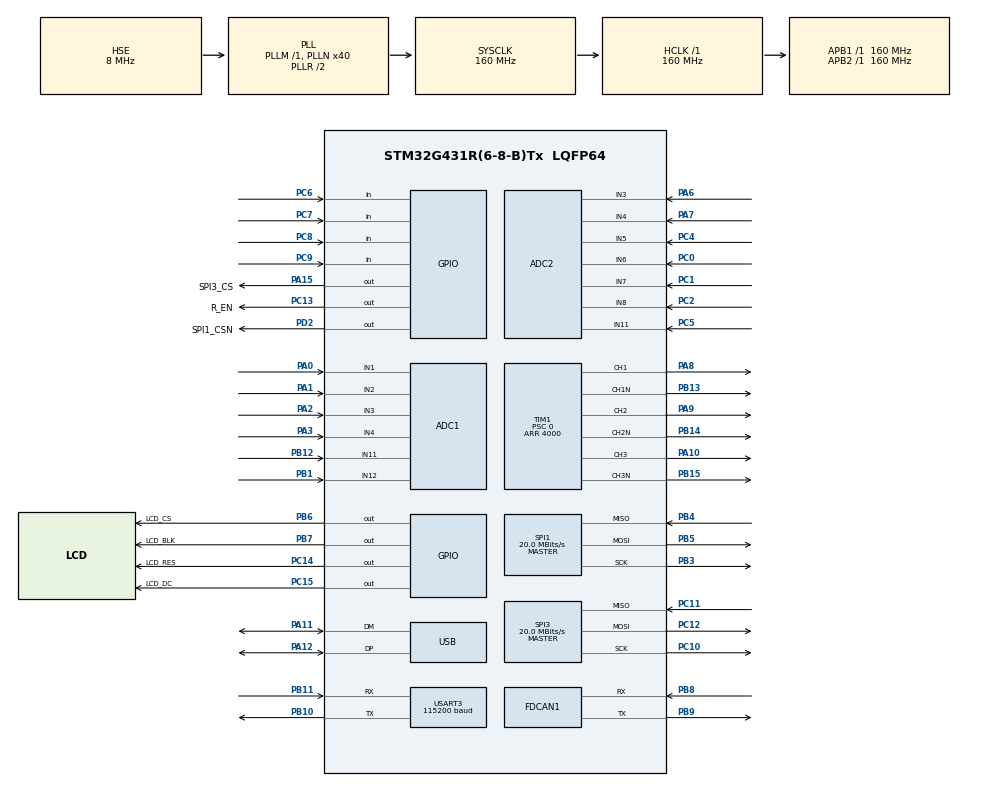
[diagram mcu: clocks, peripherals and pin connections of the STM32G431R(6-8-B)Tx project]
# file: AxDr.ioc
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ADC1.Channel-4\#ChannelRegularConversion=ADC_CHANNEL_11
ADC1.Channel-5\#ChannelRegularConversion=ADC_CHANNEL_12
ADC1.ContinuousConvMode=ENABLE
ADC1.DMAContinuousRequests=ENABLE
ADC1.EnableInjectedConversion=ENABLE
ADC1.EnableRegularConversion=ENABLE
ADC1.ExternalTrigInjecConv=ADC_EXTERNALTRIGINJEC_T1_CC4
ADC1.ExternalTrigInjecConvEdge=ADC_EXTERNALTRIGINJECCONV_EDGE_FALLING
ADC1.InjNumberOfConversion=4
ADC1.InjectedChannel-1\#ChannelInjectedConversion=ADC_CHANNEL_1
ADC1.InjectedChannel-2\#ChannelInjectedConversion=ADC_CHANNEL_2
ADC1.InjectedChannel-3\#ChannelInjectedConversion=ADC_CHANNEL_3
ADC1.InjectedChannel-4\#ChannelInjectedConversion=ADC_CHANNEL_4
ADC1.InjectedOffsetNumber-1\#ChannelInjectedConversion=ADC_OFFSET_NONE
ADC1.InjectedOffsetNumber-2\#ChannelInjectedConversion=ADC_OFFSET_NONE
ADC1.InjectedOffsetNumber-3\#ChannelInjectedConversion=ADC_OFFSET_NONE
ADC1.InjectedOffsetNumber-4\#ChannelInjectedConversion=ADC_OFFSET_NONE
ADC1.InjectedRank-1\#ChannelInjectedConversion=1
ADC1.InjectedRank-2\#ChannelInjectedConversion=2
ADC1.InjectedRank-3\#ChannelInjectedConversion=3
ADC1.InjectedRank-4\#ChannelInjectedConversion=4
ADC1.InjectedSamplingTime-1\#ChannelInjectedConversion=ADC_SAMPLETIME_47CYCLES_5
ADC1.InjectedSamplingTime-2\#ChannelInjectedConversion=ADC_SAMPLETIME_47CYCLES_5
ADC1.InjectedSamplingTime-3\#ChannelInjectedConversion=ADC_SAMPLETIME_47CYCLES_5
ADC1.InjectedSamplingTime-4\#ChannelInjectedConversion=ADC_SAMPLETIME_47CYCLES_5
ADC1.NbrOfConversion=2
ADC1.NbrOfConversionFlag=1
ADC1.OffsetNumber-4\#ChannelRegularConversion=ADC_OFFSET_NONE
ADC1.OffsetNumber-5\#ChannelRegularConversion=ADC_OFFSET_NONE
ADC1.Rank-4\#ChannelRegularConversion=1
ADC1.Rank-5\#ChannelRegularConversion=2
ADC1.SamplingTime-4\#ChannelRegularConversion=ADC_SAMPLETIME_47CYCLES_5
ADC1.SamplingTime-5\#ChannelRegularConversion=ADC_SAMPLETIME_47CYCLES_5
ADC1.master=1
ADC2.Channel-11\#ChannelRegularConversion=ADC_CHANNEL_5
ADC2.Channel-12\#ChannelRegularConversion=ADC_CHANNEL_6
ADC2.Channel-13\#ChannelRegularConversion=ADC_CHANNEL_7
ADC2.Channel-14\#ChannelRegularConversion=ADC_CHANNEL_8
ADC2.ContinuousConvMode=ENABLE
ADC2.DMAContinuousRequests=ENABLE
ADC2.EnableInjectedConversion=ENABLE
ADC2.EnableRegularConversion=ENABLE
ADC2.ExternalTrigInjecConv=ADC_EXTERNALTRIGINJEC_T1_CC4
ADC2.ExternalTrigInjecConvEdge=ADC_EXTERNALTRIGINJECCONV_EDGE_FALLING
ADC2.InjNumberOfConversion=1
ADC2.InjectedChannel-1\#ChannelInjectedConversion=ADC_CHANNEL_11
ADC2.InjectedOffsetNumber-1\#ChannelInjectedConversion=ADC_OFFSET_NONE
ADC2.InjectedRank-1\#ChannelInjectedConversion=1
ADC2.InjectedSamplingTime-1\#ChannelInjectedConversion=ADC_SAMPLETIME_47CYCLES_5
ADC2.NbrOfConversion=4
ADC2.NbrOfConversionFlag=1
ADC2.OffsetNumber-11\#ChannelRegularConversion=ADC_OFFSET_NONE
ADC2.OffsetNumber-12\#ChannelRegularConversion=ADC_OFFSET_NONE
ADC2.OffsetNumber-13\#ChannelRegularConversion=ADC_OFFSET_NONE
ADC2.OffsetNumber-14\#ChannelRegularConversion=ADC_OFFSET_NONE
ADC2.Rank-11\#ChannelRegularConversion=1
ADC2.Rank-12\#ChannelRegularConversion=2
ADC2.Rank-13\#ChannelRegularConversion=3
ADC2.Rank-14\#ChannelRegularConversion=4
ADC2.SamplingTime-11\#ChannelRegularConversion=ADC_SAMPLETIME_47CYCLES_5
ADC2.SamplingTime-12\#ChannelRegularConversion=ADC_SAMPLETIME_47CYCLES_5
ADC2.SamplingTime-13\#ChannelRegularConversion=ADC_SAMPLETIME_47CYCLES_5
ADC2.SamplingTime-14\#ChannelRegularConversion=ADC_SAMPLETIME_47CYCLES_5
Dma.ADC1.3.Direction=DMA_PERIPH_TO_MEMORY
Dma.ADC1.3.EventEnable=DISABLE
Dma.ADC1.3.Instance=DMA1_Channel4
Dma.ADC1.3.MemDataAlignment=DMA_MDATAALIGN_HALFWORD
Dma.ADC1.3.MemInc=DMA_MINC_ENABLE
Dma.ADC1.3.Mode=DMA_CIRCULAR
Dma.ADC1.3.PeriphDataAlignment=DMA_PDATAALIGN_HALFWORD
Dma.ADC1.3.PeriphInc=DMA_PINC_DISABLE
Dma.ADC1.3.Polarity=HAL_DMAMUX_REQ_GEN_RISING
Dma.ADC1.3.Priority=DMA_PRIORITY_LOW
Dma.ADC1.3.RequestNumber=1
Dma.ADC1.3.SignalID=NONE
Dma.ADC1.3.SyncEnable=DISABLE
Dma.ADC1.3.SyncPolarity=HAL_DMAMUX_SYNC_NO_EVENT
Dma.ADC1.3.SyncRequestNumber=1
Dma.ADC1.3.SyncSignalID=NONE
Dma.ADC2.2.Direction=DMA_PERIPH_TO_MEMORY
Dma.ADC2.2.EventEnable=DISABLE
Dma.ADC2.2.Instance=DMA1_Channel3
Dma.ADC2.2.MemDataAlignment=DMA_MDATAALIGN_HALFWORD
Dma.ADC2.2.MemInc=DMA_MINC_ENABLE
Dma.ADC2.2.Mode=DMA_CIRCULAR
Dma.ADC2.2.PeriphDataAlignment=DMA_PDATAALIGN_HALFWORD
Dma.ADC2.2.PeriphInc=DMA_PINC_DISABLE
Dma.ADC2.2.Polarity=HAL_DMAMUX_REQ_GEN_RISING
Dma.ADC2.2.Priority=DMA_PRIORITY_LOW
Dma.ADC2.2.RequestNumber=1
Dma.ADC2.2.SignalID=NONE
Dma.ADC2.2.SyncEnable=DISABLE
Dma.ADC2.2.SyncPolarity=HAL_DMAMUX_SYNC_NO_EVENT
Dma.ADC2.2.SyncRequestNumber=1
Dma.ADC2.2.SyncSignalID=NONE
Dma.Request0=USART3_RX
Dma.Request1=USART3_TX
Dma.Request2=ADC2
Dma.Request3=ADC1
Dma.USART3_RX.0.Direction=DMA_PERIPH_TO_MEMORY
Dma.USART3_RX.0.EventEnable=DISABLE
Dma.USART3_RX.0.Instance=DMA1_Channel1
Dma.USART3_RX.0.MemDataAlignment=DMA_MDATAALIGN_BYTE
Dma.USART3_RX.0.MemInc=DMA_MINC_ENABLE
Dma.USART3_RX.0.Mode=DMA_NORMAL
Dma.USART3_RX.0.PeriphDataAlignment=DMA_PDATAALIGN_BYTE
Dma.USART3_RX.0.PeriphInc=DMA_PINC_DISABLE
Dma.USART3_RX.0.Polarity=HAL_DMAMUX_REQ_GEN_RISING
Dma.USART3_RX.0.Priority=DMA_PRIORITY_LOW
Dma.USART3_RX.0.RequestNumber=1
Dma.USART3_RX.0.SignalID=NONE
Dma.USART3_RX.0.SyncEnable=DISABLE
Dma.USART3_RX.0.SyncPolarity=HAL_DMAMUX_SYNC_NO_EVENT
Dma.USART3_RX.0.SyncRequestNumber=1
Dma.USART3_RX.0.SyncSignalID=NONE
Dma.USART3_TX.1.Direction=DMA_MEMORY_TO_PERIPH
Dma.USART3_TX.1.EventEnable=DISABLE
Dma.USART3_TX.1.Instance=DMA1_Channel2
Dma.USART3_TX.1.MemDataAlignment=DMA_MDATAALIGN_BYTE
Dma.USART3_TX.1.MemInc=DMA_MINC_ENABLE
Dma.USART3_TX.1.Mode=DMA_NORMAL
Dma.USART3_TX.1.PeriphDataAlignment=DMA_PDATAALIGN_BYTE
Dma.USART3_TX.1.PeriphInc=DMA_PINC_DISABLE
Dma.USART3_TX.1.Polarity=HAL_DMAMUX_REQ_GEN_RISING
Dma.USART3_TX.1.Priority=DMA_PRIORITY_LOW
Dma.USART3_TX.1.RequestNumber=1
Dma.USART3_TX.1.SignalID=NONE
Dma.USART3_TX.1.SyncEnable=DISABLE
Dma.USART3_TX.1.SyncPolarity=HAL_DMAMUX_SYNC_NO_EVENT
Dma.USART3_TX.1.SyncRequestNumber=1
Dma.USART3_TX.1.SyncSignalID=NONE
FDCAN1.AutoRetransmission=ENABLE
FDCAN1.CalculateBaudRateNominal=1000000
FDCAN1.CalculateTimeBitNominal=1000
FDCAN1.CalculateTimeQuantumNominal=12.5
FDCAN1.DataPrescaler=1
FDCAN1.DataSyncJumpWidth=1
FDCAN1.DataTimeSeg1=14
FDCAN1.DataTimeSeg2=1
FDCAN1.ExtFiltersNbr=8
FDCAN1.FrameFormat=FDCAN_FRAME_FD_BRS
FDCAN1.NominalPrescaler=1
FDCAN1.NominalSyncJumpWidth=20
FDCAN1.NominalTimeSeg1=59
FDCAN1.NominalTimeSeg2=20
FDCAN1.ProtocolException=DISABLE
FDCAN1.StdFiltersNbr=16
FDCAN1.TransmitPause=ENABLE
Mcu.Family=STM32G4
Mcu.Name=STM32G431R(6-8-B)Tx
Mcu.Package=LQFP64
NVIC.ADC1_2_IRQn=true\:0\:0\:false\:false\:true\:true\:true\:true
NVIC.DMA1_Channel1_IRQn=true\:0\:0\:false\:false\:true\:false\:true\:true
NVIC.DMA1_Channel2_IRQn=true\:0\:0\:false\:false\:true\:false\:true\:true
NVIC.DMA1_Channel3_IRQn=true\:0\:0\:false\:false\:true\:false\:true\:true
NVIC.DMA1_Channel4_IRQn=true\:0\:0\:false\:false\:true\:false\:true\:true
NVIC.FDCAN1_IT0_IRQn=true\:0\:0\:false\:false\:true\:true\:true\:true
NVIC.FDCAN1_IT1_IRQn=true\:0\:0\:false\:false\:true\:true\:true\:true
NVIC.PriorityGroup=NVIC_PRIORITYGROUP_4
NVIC.TIM1_UP_TIM16_IRQn=true\:0\:0\:false\:false\:true\:true\:true\:true
NVIC.USART3_IRQn=true\:0\:0\:false\:false\:true\:true\:true\:true
NVIC.USB_LP_IRQn=true\:0\:0\:false\:false\:true\:false\:true\:true
PA0.Mode=IN1-Single-Ended
PA0.Signal=ADC1_IN1
PA1.Mode=IN2-Single-Ended
PA1.Signal=ADC1_IN2
PA10.Signal=S_TIM1_CH3
PA11.Mode=Device
PA11.Signal=USB_DM
PA12.Mode=Device
PA12.Signal=USB_DP
PA13.Mode=Serial_Wire
PA13.Signal=SYS_JTMS-SWDIO
PA14.Mode=Serial_Wire
PA14.Signal=SYS_JTCK-SWCLK
PA15.GPIO_Label=SPI3_CS
PA15.GPIO_PuPd=GPIO_PULLUP
PA15.Signal=GPIO_Output
PA2.Mode=IN3-Single-Ended
PA2.Signal=ADC1_IN3
PA3.Mode=IN4-Single-Ended
PA3.Signal=ADC1_IN4
PA6.Mode=IN3-Single-Ended
PA6.Signal=ADC2_IN3
PA7.Mode=IN4-Single-Ended
PA7.Signal=ADC2_IN4
PA8.Signal=S_TIM1_CH1
PA9.Signal=S_TIM1_CH2
PB1.Mode=IN12-Single-Ended
PB1.Signal=ADC1_IN12
PB10.Mode=Asynchronous
PB10.Signal=USART3_TX
PB11.Mode=Asynchronous
PB11.Signal=USART3_RX
PB12.Mode=IN11-Single-Ended
PB12.Signal=ADC1_IN11
PB13.Mode=PWM Generation1 CH1 CH1N
PB13.Signal=TIM1_CH1N
PB14.Mode=PWM Generation2 CH2 CH2N
PB14.Signal=TIM1_CH2N
PB15.Mode=PWM Generation3 CH3 CH3N
PB15.Signal=TIM1_CH3N
PB3.Mode=Full_Duplex_Master
PB3.Signal=SPI1_SCK
PB4.Mode=Full_Duplex_Master
PB4.Signal=SPI1_MISO
PB5.Mode=Full_Duplex_Master
PB5.Signal=SPI1_MOSI
PB6.GPIO_Label=LCD_CS
PB6.GPIO_PuPd=GPIO_PULLDOWN
PB6.Signal=GPIO_Output
PB7.GPIO_Label=LCD_BLK
PB7.GPIO_PuPd=GPIO_PULLDOWN
PB7.Signal=GPIO_Output
PB8-BOOT0.Mode=FDCAN_Activate
PB8-BOOT0.Signal=FDCAN1_RX
PB9.Mode=FDCAN_Activate
PB9.Signal=FDCAN1_TX
PC0.Mode=IN6-Single-Ended
PC0.Signal=ADC2_IN6
PC1.Mode=IN7-Single-Ended
PC1.Signal=ADC2_IN7
PC10.Mode=Full_Duplex_Master
PC10.Signal=SPI3_SCK
PC11.Mode=Full_Duplex_Master
PC11.Signal=SPI3_MISO
PC12.Mode=Full_Duplex_Master
PC12.Signal=SPI3_MOSI
PC13.GPIO_Label=R_EN
PC13.Signal=GPIO_Output
PC14-OSC32_IN.GPIO_Label=LCD_RES
PC14-OSC32_IN.GPIO_PuPd=GPIO_PULLUP
PC14-OSC32_IN.PinState=GPIO_PIN_SET
PC14-OSC32_IN.Signal=GPIO_Output
PC15-OSC32_OUT.GPIO_Label=LCD_DC
PC15-OSC32_OUT.GPIO_PuPd=GPIO_PULLDOWN
PC15-OSC32_OUT.PinState=GPIO_PIN_SET
PC15-OSC32_OUT.Signal=GPIO_Output
PC2.Mode=IN8-Single-Ended
PC2.Signal=ADC2_IN8
PC4.Mode=IN5-Single-Ended
PC4.Signal=ADC2_IN5
PC5.Mode=IN11-Single-Ended
PC5.Signal=ADC2_IN11
PC6.GPIO_PuPd=GPIO_PULLUP
PC6.Signal=GPIO_Input
PC7.GPIO_PuPd=GPIO_PULLUP
PC7.Signal=GPIO_Input
PC8.GPIO_PuPd=GPIO_PULLUP
PC8.Signal=GPIO_Input
PC9.GPIO_PuPd=GPIO_PULLUP
PC9.Signal=GPIO_Input
PD2.GPIO_Label=SPI1_CSN
PD2.GPIO_PuPd=GPIO_PULLDOWN
PD2.Signal=GPIO_Output
PF0-OSC_IN.Mode=HSE-External-Oscillator
PF0-OSC_IN.Signal=RCC_OSC_IN
PF1-OSC_OUT.Mode=HSE-External-Oscillator
PF1-OSC_OUT.Signal=RCC_OSC_OUT
ProjectManager.HeapSize=0x200
ProjectManager.StackSize=0x400
ProjectManager.TargetToolchain=CMake
RCC.ADC12Freq_Value=160000000
RCC.ADC345Freq_Value=160000000
RCC.AHBFreq_Value=160000000
RCC.APB1Freq_Value=160000000
RCC.APB1TimFreq_Value=160000000
RCC.APB2Freq_Value=160000000
RCC.APB2TimFreq_Value=160000000
RCC.CK48CLockSelection=RCC_USBCLKSOURCE_HSI48
RCC.CortexFreq_Value=160000000
RCC.EXTERNAL_CLOCK_VALUE=12288000
RCC.FDCANCLockSelection=RCC_FDCANCLKSOURCE_PLL
RCC.HCLKFreq_Value=160000000
RCC.HSE_VALUE=8000000
RCC.HSI48_VALUE=48000000
RCC.HSI_VALUE=16000000
RCC.LSE_VALUE=32768
RCC.PLLN=40
RCC.PLLQ=RCC_PLLQ_DIV4
RCC.PLLSourceVirtual=RCC_PLLSOURCE_HSE
RCC.SYSCLKFreq_VALUE=160000000
RCC.SYSCLKSource=RCC_SYSCLKSOURCE_PLLCLK
RCC.USBFreq_Value=48000000
RCC.VCOOutputFreq_Value=320000000
SH.S_TIM1_CH1.0=TIM1_CH1,PWM Generation1 CH1 CH1N
SH.S_TIM1_CH2.0=TIM1_CH2,PWM Generation2 CH2 CH2N
SH.S_TIM1_CH3.0=TIM1_CH3,PWM Generation3 CH3 CH3N
SPI1.BaudRatePrescaler=SPI_BAUDRATEPRESCALER_8
SPI1.CLKPhase=SPI_PHASE_2EDGE
SPI1.CLKPolarity=SPI_POLARITY_HIGH
SPI1.CRCCalculation=SPI_CRCCALCULATION_DISABLE
SPI1.CalculateBaudRate=20.0 MBits/s
SPI1.DataSize=SPI_DATASIZE_8BIT
SPI1.Direction=SPI_DIRECTION_2LINES
SPI1.FirstBit=SPI_FIRSTBIT_MSB
SPI1.Mode=SPI_MODE_MASTER
SPI1.NSS=SPI_NSS_SOFT
SPI1.TIMode=SPI_TIMODE_DISABLE
SPI1.VirtualType=VM_MASTER
SPI3.BaudRatePrescaler=SPI_BAUDRATEPRESCALER_8
SPI3.CalculateBaudRate=20.0 MBits/s
SPI3.DataSize=SPI_DATASIZE_8BIT
SPI3.Direction=SPI_DIRECTION_2LINES
SPI3.Mode=SPI_MODE_MASTER
SPI3.VirtualType=VM_MASTER
TIM1.AutoReloadPreload=TIM_AUTORELOAD_PRELOAD_DISABLE
TIM1.AutomaticOutput=TIM_AUTOMATICOUTPUT_ENABLE
TIM1.Break2Filter=0
TIM1.Break2Polarity=TIM_BREAK2POLARITY_HIGH
TIM1.Break2State=TIM_BREAK2_DISABLE
TIM1.BreakFilter=0
TIM1.BreakPolarity=TIM_BREAKPOLARITY_HIGH
TIM1.BreakState=TIM_BREAK_ENABLE
TIM1.Channel-PWM\ Generation1\ CH1\ CH1N=TIM_CHANNEL_1
TIM1.Channel-PWM\ Generation2\ CH2\ CH2N=TIM_CHANNEL_2
TIM1.Channel-PWM\ Generation3\ CH3\ CH3N=TIM_CHANNEL_3
TIM1.Channel-PWM\ Generation4\ No\ Output=TIM_CHANNEL_4
TIM1.ClearInputSource=TIM_CLEARINPUTSOURCE_NONE
TIM1.ClockDivision=TIM_CLOCKDIVISION_DIV1
TIM1.CounterMode=TIM_COUNTERMODE_CENTERALIGNED2
TIM1.Dithering=Disable
TIM1.LockLevel=TIM_LOCKLEVEL_OFF
TIM1.OC4Preload_PWM=ENABLE
TIM1.OCFastMode_PWM-PWM\ Generation4\ No\ Output=TIM_OCFAST_DISABLE
TIM1.OCIdleState_4=TIM_OCIDLESTATE_RESET
TIM1.OCMode_PWM-PWM\ Generation4\ No\ Output=TIM_OCMODE_PWM1
TIM1.OCPolarity_4=TIM_OCPOLARITY_HIGH
TIM1.OffStateIDLEMode=TIM_OSSI_DISABLE
TIM1.PeriodNoDither=4000
TIM1.Prescaler=0
TIM1.PulseNoDither_4=0
TIM1.RepetitionCounter=1
TIM1.SourceBRK2COMP1=TIM_BREAKINPUTSOURCE_DISABLE
TIM1.SourceBRK2COMP2=TIM_BREAKINPUTSOURCE_DISABLE
TIM1.SourceBRK2COMP3=TIM_BREAKINPUTSOURCE_DISABLE
TIM1.SourceBRK2COMP4=TIM_BREAKINPUTSOURCE_DISABLE
TIM1.SourceBRK2DigInput=TIM_BREAKINPUTSOURCE_DISABLE
TIM1.SourceBRKCOMP1=TIM_BREAKINPUTSOURCE_DISABLE
TIM1.SourceBRKCOMP2=TIM_BREAKINPUTSOURCE_DISABLE
TIM1.SourceBRKCOMP3=TIM_BREAKINPUTSOURCE_DISABLE
TIM1.SourceBRKCOMP4=TIM_BREAKINPUTSOURCE_DISABLE
TIM1.SourceBRKDigInput=TIM_BREAKINPUTSOURCE_DISABLE
TIM1.TIM_MasterOutputTrigger=TIM_TRGO_RESET
TIM1.TIM_MasterOutputTrigger2=TIM_TRGO2_RESET
TIM1.TIM_MasterSlaveMode=TIM_MASTERSLAVEMODE_DISABLE
TIM3.Prescaler=0
USART3.BaudRate=115200
USART3.VirtualMode-Asynchronous=VM_ASYNC
USB.DeviceSpeed=PCD_SPEED_FULL
USB.Sof_enable=DISABLE
USB.battery_charging_enable=DISABLE
USB.low_power_enable=DISABLE
USB.lpm_enable=DISABLE
USB.phy_itface=PCD_PHY_EMBEDDED
USB_DEVICE.CLASS_NAME_FS=CDC
USB_DEVICE.VirtualMode=Cdc
USB_DEVICE.VirtualModeFS=Cdc_FS
VP_SYS_VS_DBSignals.Mode=DisableDeadBatterySignals
VP_TIM1_VS_ClockSourceINT.Mode=Internal
VP_TIM1_VS_no_output4.Mode=PWM Generation4 No Output
VP_TIM3_VS_ClockSourceINT.Mode=Internal
VP_USB_DEVICE_VS_USB_DEVICE_CDC_FS.Mode=CDC_FS
board=custom

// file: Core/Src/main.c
/* USER CODE BEGIN Header */
/**
  ******************************************************************************
  * @file           : main.c
  * @brief          : Main program body
  ******************************************************************************
  * @attention
  *
  * Copyright (c) 2026 STMicroelectronics.
  * All rights reserved.
  *
  * This software is licensed under terms that can be found in the LICENSE file
  * in the root directory of this software component.
  * If no LICENSE file comes with this software, it is provided AS-IS.
  *
  ******************************************************************************
  */
/* USER CODE END Header */
#include "main.h"
#include "adc.h"
#include "dma.h"
#include "fdcan.h"
#include "spi.h"
#include "tim.h"
#include "usart.h"
#include "usb_device.h"
#include "gpio.h"

/* USER CODE BEGIN Includes */
#include "foc_config.h"
#include "foc_math.h"
#include "svpwm.h"
#include "open_loop.h"
#include "foc_ctrl.h"
#include "mt6835.h"
#include "vofa.h"
#include "test_runner.h"
#include <stdio.h>
#include <string.h>
/* USER CODE END Includes */

/* USER CODE BEGIN PM */
#define IQ_STEP_HOLD_MS 3000U

/* USER CODE END PM */

void SystemClock_Config(void);

int main(void)
{

  /* MCU Configuration--------------------------------------------------------*/

  /* Reset of all peripherals, Initializes the Flash interface and the Systick. */
  HAL_Init();

  /* Configure the system clock */
  SystemClock_Config();

  /* Initialize all configured peripherals */
  MX_GPIO_Init();
  MX_DMA_Init();
  MX_SPI1_Init();
  MX_TIM1_Init();
  MX_TIM3_Init();
  MX_USB_Device_Init();
  MX_ADC1_Init();
  MX_ADC2_Init();
  MX_USART3_UART_Init();
  MX_FDCAN1_Init();
  MX_SPI3_Init();
  /* USER CODE BEGIN 2 */

  /* Initialize MT6835 encoder via SPI1 */
  mt6835_init(&g_encoder, 7);   /* pole_pairs: adjust to your motor */

#ifdef ENABLE_TESTS
  HAL_Delay(500);  /* wait for USB enumeration */
  test_run_all();
  while (1) { ; } /* halt after tests */
#endif

  /* Initialize FOC controller */
  foc_ctrl_init(&g_foc);

  /* Calibrate ADC zero-current offsets (PWM off, motor still) */
  HAL_ADCEx_Calibration_Start(&hadc1, ADC_SINGLE_ENDED);
  foc_ctrl_calibrate_offsets(&g_foc);

  /* === Encoder zero-point calibration ===
   * Apply Valpha > 0, Vbeta = 0 to align rotor d-axis to alpha (true elec angle = 0)
   * NOT using Vq (which would be 90 degrees off) */

  /* Start PWM manually for calibration */
  HAL_TIM_PWM_Start(&htim1, TIM_CHANNEL_1);
  HAL_TIM_PWM_Start(&htim1, TIM_CHANNEL_2);
  HAL_TIM_PWM_Start(&htim1, TIM_CHANNEL_3);
  HAL_TIMEx_PWMN_Start(&htim1, TIM_CHANNEL_1);
  HAL_TIMEx_PWMN_Start(&htim1, TIM_CHANNEL_2);
  HAL_TIMEx_PWMN_Start(&htim1, TIM_CHANNEL_3);

  /* Apply d-axis voltage directly: Valpha = 15% Vbus, Vbeta = 0 */
  {
    SvpwmOutput_t cal_pwm = svpwm_calculate(VBUS_DEFAULT * 0.15f, 0.0f, VBUS_DEFAULT);
    svpwm_apply(&cal_pwm);
  }

  /* Wait for rotor to settle at electrical angle = 0 */
  HAL_Delay(1000);

  /* Read encoder and set as zero offset */
  mt6835_update(&g_encoder);
  mt6835_set_zero(&g_encoder);

  /* Stop calibration PWM */
  HAL_TIM_PWM_Stop(&htim1, TIM_CHANNEL_1);
  HAL_TIM_PWM_Stop(&htim1, TIM_CHANNEL_2);
  HAL_TIM_PWM_Stop(&htim1, TIM_CHANNEL_3);
  HAL_TIMEx_PWMN_Stop(&htim1, TIM_CHANNEL_1);
  HAL_TIMEx_PWMN_Stop(&htim1, TIM_CHANNEL_2);
  HAL_TIMEx_PWMN_Stop(&htim1, TIM_CHANNEL_3);

  /* Current closed-loop mode with Iq step-response test */
  foc_ctrl_set_mode(&g_foc, FOC_MODE_CURRENT);
  g_foc.id_ref = 0.0f;
  g_foc.iq_ref = 0.05f;
  foc_ctrl_start(&g_foc);

  /* USER CODE END 2 */

  /* Infinite loop */
  while (1)
  {

    /* USER CODE BEGIN 3 */
    {
      uint32_t step_idx = (HAL_GetTick() / IQ_STEP_HOLD_MS) % 3U;

      if (step_idx == 0U) {
        g_foc.iq_ref = 0.05f;
      } else if (step_idx == 1U) {
        g_foc.iq_ref = 0.10f;
      } else {
        g_foc.iq_ref = 0.15f;
      }
    }
    /* Encoder is read in TIM1 ISR at 20kHz — do NOT call mt6835_update here
     * to avoid SPI race condition with the ISR. */

    /* VOFA+ debug output now handled via USB CDC in TIM1 ISR (vofa_send_from_isr) */
  }
  /* USER CODE END 3 */
}

void SystemClock_Config(void)
{
  RCC_OscInitTypeDef RCC_OscInitStruct = {0};
  RCC_ClkInitTypeDef RCC_ClkInitStruct = {0};

  /** Configure the main internal regulator output voltage
  */
  HAL_PWREx_ControlVoltageScaling(PWR_REGULATOR_VOLTAGE_SCALE1_BOOST);

  /** Initializes the RCC Oscillators according to the specified parameters
  * in the RCC_OscInitTypeDef structure.
  */
  RCC_OscInitStruct.OscillatorType = RCC_OSCILLATORTYPE_HSI48|RCC_OSCILLATORTYPE_HSE;
  RCC_OscInitStruct.HSEState = RCC_HSE_ON;
  RCC_OscInitStruct.HSI48State = RCC_HSI48_ON;
  RCC_OscInitStruct.PLL.PLLState = RCC_PLL_ON;
  RCC_OscInitStruct.PLL.PLLSource = RCC_PLLSOURCE_HSE;
  RCC_OscInitStruct.PLL.PLLM = RCC_PLLM_DIV1;
  RCC_OscInitStruct.PLL.PLLN = 40;
  RCC_OscInitStruct.PLL.PLLP = RCC_PLLP_DIV2;
  RCC_OscInitStruct.PLL.PLLQ = RCC_PLLQ_DIV4;
  RCC_OscInitStruct.PLL.PLLR = RCC_PLLR_DIV2;
  if (HAL_RCC_OscConfig(&RCC_OscInitStruct) != HAL_OK)
  {
    Error_Handler();
  }

  /** Initializes the CPU, AHB and APB buses clocks
  */
  RCC_ClkInitStruct.ClockType = RCC_CLOCKTYPE_HCLK|RCC_CLOCKTYPE_SYSCLK
                              |RCC_CLOCKTYPE_PCLK1|RCC_CLOCKTYPE_PCLK2;
  RCC_ClkInitStruct.SYSCLKSource = RCC_SYSCLKSOURCE_PLLCLK;
  RCC_ClkInitStruct.AHBCLKDivider = RCC_SYSCLK_DIV1;
  RCC_ClkInitStruct.APB1CLKDivider = RCC_HCLK_DIV1;
  RCC_ClkInitStruct.APB2CLKDivider = RCC_HCLK_DIV1;

  if (HAL_RCC_ClockConfig(&RCC_ClkInitStruct, FLASH_LATENCY_4) != HAL_OK)
  {
    Error_Handler();
  }
}

/* USER CODE BEGIN 4 */

/* TIM1 update interrupt callback - called at PWM frequency (20kHz) */
void HAL_TIM_PeriodElapsedCallback(TIM_HandleTypeDef *htim)
{
  if (htim->Instance == TIM1) {
    mt6835_update(&g_encoder);
    foc_ctrl_update(&g_foc);
    vofa_send_from_isr();
  }
}

/* USER CODE END 4 */

void Error_Handler(void)
{
  __disable_irq();
  while (1)
  {
  }
}
